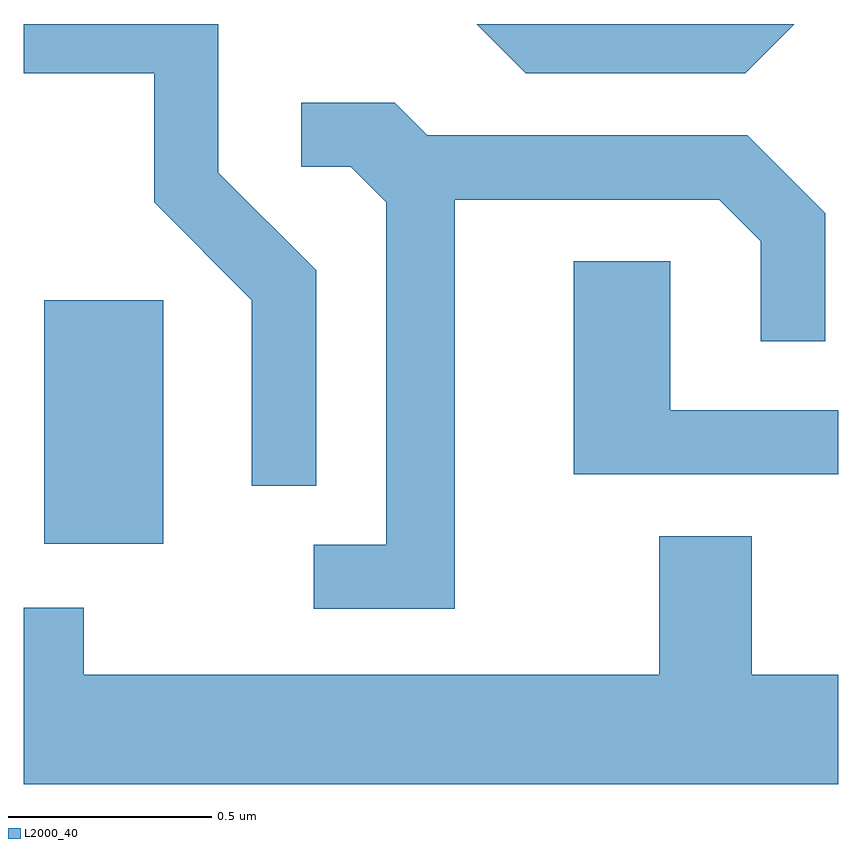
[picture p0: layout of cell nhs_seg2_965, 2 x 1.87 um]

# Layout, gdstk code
import gdstk
lib = gdstk.Library(unit=1e-6, precision=1e-09)
def R(c, l, rs):  # rectangles x0, y0, x1, y1
    for r in rs: c.add(gdstk.rectangle(r[:2], r[2:], *l))
def P(c, l, *ps):  # polygons
    for p in ps: c.add(gdstk.Polygon(p, *l))
L2000_40 = (2000, 40)

nhs_seg2_965 = lib.new_cell('nhs_seg2_965')
R(nhs_seg2_965, L2000_40, [(192.661,984.526,192.954,985.124)])
P(nhs_seg2_965, L2000_40, [(193.329,985.197),(193.089,985.437),(193.089,985.802),(192.611,985.802),(192.611,985.681),(192.931,985.681),(192.931,985.364),(193.171,985.124),(193.171,984.668),(193.329,984.668)],
  [(194.503,985.802),(193.723,985.802),(193.844,985.681),(194.382,985.681)],
  [(193.669,985.371),(194.319,985.371),(194.421,985.269),(194.421,985.023),(194.579,985.023),(194.579,985.337),(194.387,985.529),(193.602,985.529),(193.522,985.609),(193.293,985.609),(193.293,985.451),(193.414,985.451),(193.501,985.364),(193.501,984.524),(193.323,984.524),(193.323,984.366),(193.669,984.366)],
  [(194.611,984.854),(194.199,984.854),(194.199,985.219),(193.961,985.219),(193.961,984.696),(194.611,984.696)],
  [(194.611,984.204),(194.399,984.204),(194.399,984.544),(194.171,984.544),(194.171,984.204),(192.759,984.204),(192.759,984.369),(192.611,984.369),(192.611,983.936),(194.611,983.936)])

lib.write_gds('nhs_seg2_965.gds')
